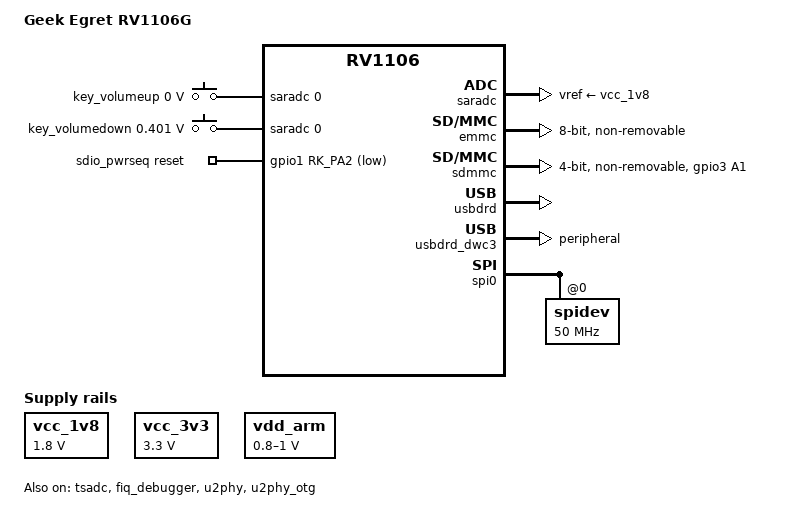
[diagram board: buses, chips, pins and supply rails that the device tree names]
// SPDX-License-Identifier: (GPL-2.0+ OR MIT)
/*
 * Copyright (c) 2022 Rockchip Electronics Co., Ltd.
 */

/dts-v1/;
#include "rv1106.dtsi"
// #include "rv1106-luckfox-pico-ultra-ipc.dtsi"
#include <dt-bindings/input/input.h>
#include <dt-bindings/display/media-bus-format.h>

/ {
	model = "Geek Egret RV1106G";
	compatible = "rockchip,rv1106g3";

	// 超级重要
	chosen {
		bootargs = "earlycon=uart8250,mmio32,0xff4c0000 console=ttyFIQ0 root=/dev/mmcblk0p7 rootwait snd_soc_core.prealloc_buffer_size_kbytes=16 coherent_pool=0";
	};

	restart-poweroff {
		compatible = "restart-poweroff";
	};

	// 超级重要，不使用的话无法进入loader模式
	adc-keys {
		compatible = "adc-keys";
		io-channels = <&saradc 0>;
		io-channel-names = "buttons";
		poll-interval = <100>;
		keyup-threshold-microvolt = <1800000>;

		key_volumeup-key {
			label = "key_volumeup";
			linux,code = <KEY_VOLUMEUP>;
			press-threshold-microvolt = <0>;
		};

		key_volumedown-key {
			label = "key_volumedown";
			linux,code = <KEY_VOLUMEDOWN>;
			press-threshold-microvolt = <400781>;
		};
	};

	reserved_memory: reserved-memory {
		status = "okay";
		#address-cells = <1>;
		#size-cells = <1>;
		ranges;
		drm_logo: drm-logo@00000000 {
			compatible = "rockchip,drm-logo";
			reg = <0x0 0x0>;
		};
		linux,cma {
			status = "okay";
			compatible = "shared-dma-pool";
			inactive;
			reusable;
			size = <0xA00000>; //10M
			linux,cma-default;
		};
		mmc_ecsd: mmc@3f000 {
			reg = <0x3f000 0x00001000>;
		};
	};

	vcc_1v8: vcc-1v8 {
		compatible = "regulator-fixed";
		regulator-name = "vcc_1v8";
		regulator-always-on;
		regulator-boot-on;
		regulator-min-microvolt = <1800000>;
		regulator-max-microvolt = <1800000>;
	};

	vcc_3v3: vcc-3v3 {
		compatible = "regulator-fixed";
		regulator-name = "vcc_3v3";
		regulator-always-on;
		regulator-boot-on;
		regulator-min-microvolt = <3300000>;
		regulator-max-microvolt = <3300000>;
	};

	vdd_arm: vdd-arm {
		compatible = "regulator-fixed";
		regulator-name = "vdd_arm";
		regulator-min-microvolt = <800000>;
		regulator-max-microvolt = <1000000>;
		regulator-init-microvolt = <900000>;
		regulator-always-on;
		regulator-boot-on;
	};

	rockchip_amp: rockchip-amp {
		compatible = "rockchip,amp";
		clocks = <&cru CLK_TIMER_ROOT>, <&cru PCLK_TIMER>, <&cru CLK_TIMER5>,
			<&cru CLK_CORE_MCU>, <&cru CLK_CORE_MCU_RTC>, <&cru PCLK_MAILBOX>;

		status = "okay";
	};

	sdio_pwrseq: sdio-pwrseq {
		compatible = "mmc-pwrseq-simple";
		pinctrl-names = "default";
		reset-gpios = <&gpio1 RK_PA2 GPIO_ACTIVE_LOW>;
	};

	// wireless_bluetooth: wireless-bluetooth {
	// 	compatible = "bluetooth-platdata";
	// 	uart_rts_gpios = <&gpio0 RK_PA5 GPIO_ACTIVE_LOW>;
	// 	pinctrl-names = "default", "rts_gpio";
	// 	pinctrl-0 = <&uart1m0_rtsn>;
	// 	pinctrl-1 = <&uart1_gpios>;
	// 	BT,wake_gpio     = <&gpio0 RK_PA2 GPIO_ACTIVE_HIGH>;
	// 	BT,wake_host_irq = <&gpio1 RK_PA2 GPIO_ACTIVE_HIGH>;
	// 	status = "okay";
	// };
};

/**********CRU**********/
//&cru {
//	assigned-clocks =
//		<&cru PLL_GPLL>, <&cru PLL_CPLL>,
//		<&cru ARMCLK>,
//		<&cru ACLK_PERI_ROOT>, <&cru HCLK_PERI_ROOT>,
//		<&cru PCLK_PERI_ROOT>, <&cru ACLK_BUS_ROOT>,
//		<&cru PCLK_TOP_ROOT>, <&cru PCLK_PMU_ROOT>,
//		<&cru HCLK_PMU_ROOT>, <&cru CLK_500M_SRC>;
//	assigned-clock-rates =
//		<1188000000>, <700000000>,
//		<1104000000>,
//		<400000000>, <200000000>,
//		<100000000>, <300000000>,
//		<100000000>, <100000000>,
//		<200000000>, <700000000>;
//};

/**********NPU**********/
// &npu {
// 	assigned-clock-rates = <700000000>;
// };

/**********ADC**********/
&saradc {
	status = "okay";
	vref-supply = <&vcc_1v8>;
};

&tsadc {
	status = "okay";
};

/**********EMMC**********/
&emmc {
	bus-width = <8>;
	cap-mmc-highspeed;
	non-removable;
	mmc-hs200-1_8v;
	rockchip,default-sample-phase = <90>;
	no-sdio;
	no-sd;
	memory-region-ecsd = <&mmc_ecsd>;
	post-power-on-delay-ms = <0>;
	status = "okay";
};

&fiq_debugger {
	rockchip,irq-mode-enable = <1>;
	status = "okay";
};

/**********SDIO-WIFI**********/
&sdmmc {
	max-frequency = <50000000>;
	bus-width = <4>;
	cap-sd-highspeed;
	cap-sdio-irq;
	keep-power-in-suspend;
	non-removable;
	rockchip,default-sample-phase = <90>;
	// no-sd;
	// no-mmc;
	supports-sdio;
	mmc-pwrseq = <&sdio_pwrseq>;
	pinctrl-names = "default";
	pinctrl-0 = <&sdmmc0_clk &sdmmc0_cmd &sdmmc0_bus4 &sdmmc0_det>;
	status = "okay";
};

&pinctrl{
	sdmmc0 {
		sdmmc0_det: sdmmc0-det {
			rockchip,pins =
				/* sdmmc0_det */
				<3 RK_PA1 1 &pcfg_pull_down>;
		};
	};
};


/**********ETH**********/
// &gmac {
// 	status = "okay";
// };

/**********USB**********/

&u2phy {
	status = "okay";
};

&u2phy_otg {
	status = "okay";
};

&usbdrd {
	status = "okay";
};

&usbdrd_dwc3 {
	status = "okay";
	extcon = <&u2phy>;
	dr_mode = "peripheral";
	// dr_mode = "host";
};

// &pinctrl{
// 	otg_switch_en: otg_switch_en {
// 		rockchip,pins =
// 			/* otg_switch_en */
// 			<4 RK_PC1 1 &pcfg_pull_up>;
// 	};
// };

/**********RTC**********/
// &rtc {
// 	status = "okay";
// };

/**********BT**********/
// &uart1 {
// 	status = "okay";
// 	pinctrl-names = "default";
// 	pinctrl-0 = <&uart1m0_xfer &uart1m0_ctsn>;
// };

// &pinctrl {
// 	wireless-bluetooth {
// 		uart1_gpios: uart1-gpios {
// 			rockchip,pins = <0 RK_PA5 RK_FUNC_GPIO &pcfg_pull_none>;
// 		};
// 	};
// };

/**********SPI**********/
&spi0 {
	status = "okay";
	spidev@0 {
		spi-max-frequency = <50000000>;
	};
};
